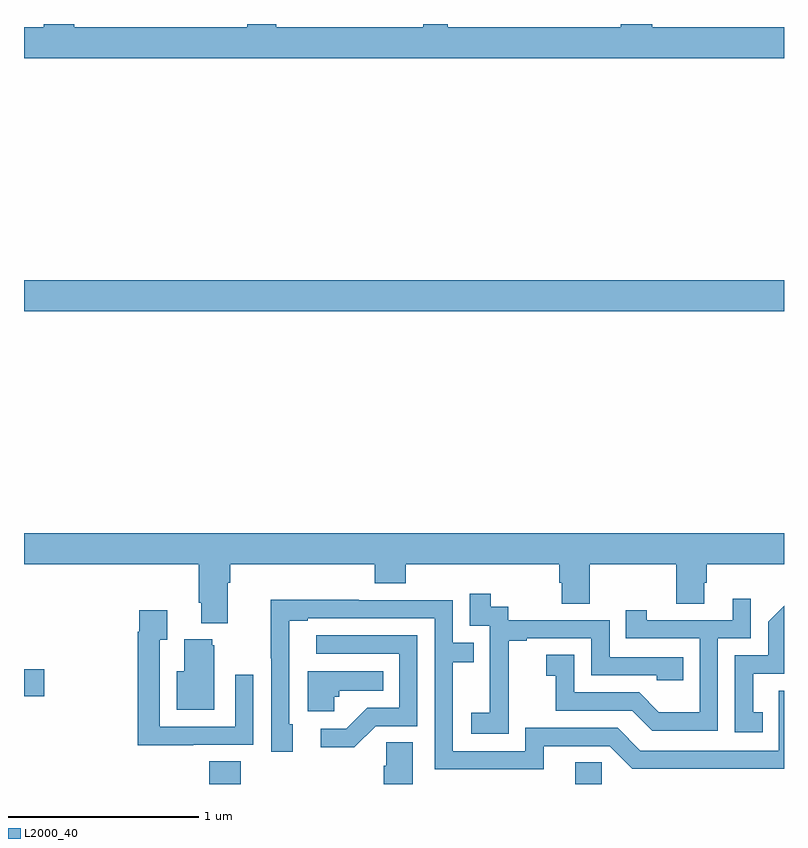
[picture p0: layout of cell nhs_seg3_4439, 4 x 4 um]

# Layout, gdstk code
import gdstk
lib = gdstk.Library(unit=1e-6, precision=1e-09)
def R(c, l, rs):  # rectangles x0, y0, x1, y1
    for r in rs: c.add(gdstk.rectangle(r[:2], r[2:], *l))
def P(c, l, *ps):  # polygons
    for p in ps: c.add(gdstk.Polygon(p, *l))
L2000_40 = (2000, 40)

nhs_seg3_4439 = lib.new_cell('nhs_seg3_4439')
R(nhs_seg3_4439, L2000_40, [(347.975,726.4,348.14,726.521), (349.901,726.4,350.04,726.515), (347,726.862,347.107,727.004), (347,728.888,351,729.052)])
P(nhs_seg3_4439, L2000_40, [(351,730.384),(350.306,730.384),(350.306,730.4),(350.141,730.4),(350.141,730.384),(349.229,730.384),(349.229,730.4),(349.1,730.4),(349.1,730.384),(348.328,730.384),(348.328,730.4),(348.176,730.4),(348.176,730.384),(347.264,730.384),(347.264,730.4),(347.104,730.4),(347.104,730.384),(347,730.384),(347,730.22),(351,730.22)],
  [(348.073,727.46),(348.086,727.46),(348.086,727.556),(348.845,727.556),(348.845,727.457),(349.01,727.457),(349.01,727.556),(349.817,727.556),(349.817,727.458),(349.829,727.458),(349.829,727.348),(349.977,727.348),(349.977,727.556),(350.434,727.556),(350.434,727.348),(350.581,727.348),(350.581,727.458),(350.594,727.458),(350.594,727.556),(351,727.556),(351,727.72),(347,727.72),(347,727.556),(347.921,727.556),(347.921,727.354),(347.933,727.354),(347.933,727.247),(348.073,727.247)],
  [(349.551,726.871),(349.55,726.871),(349.55,727.155),(349.645,727.155),(349.645,727.167),(349.986,727.167),(349.986,726.972),(350.331,726.972),(350.331,726.945),(350.471,726.945),(350.471,727.068),(350.082,727.068),(350.082,727.263),(349.548,727.263),(349.548,727.332),(349.456,727.332),(349.456,727.402),(349.347,727.402),(349.347,727.233),(349.452,727.233),(349.452,727.004),(349.451,727.004),(349.451,726.775),(349.353,726.775),(349.353,726.665),(349.551,726.665)],
  [(350.652,727.167),(350.826,727.167),(350.826,727.375),(350.729,727.375),(350.729,727.263),(350.278,727.263),(350.278,727.315),(350.167,727.315),(350.167,727.167),(350.556,727.167),(350.556,726.778),(350.342,726.778),(350.238,726.882),(349.896,726.882),(349.896,727.081),(349.749,727.081),(349.749,726.971),(349.798,726.971),(349.798,726.786),(350.201,726.786),(350.306,726.681),(350.652,726.681)],
  [(349.735,726.6),(350.082,726.6),(350.202,726.48),(351,726.48),(351,726.891),(350.973,726.891),(350.973,726.576),(350.244,726.576),(350.124,726.696),(349.638,726.696),(349.638,726.573),(349.257,726.573),(349.257,727.042),(349.367,727.042),(349.367,727.143),(349.257,727.143),(349.257,727.368),(348.761,727.368),(348.761,727.37),(348.298,727.37),(348.298,727.063),(348.3,727.063),(348.3,726.57),(348.415,726.57),(348.415,726.714),(348.396,726.714),(348.396,727.26),(348.493,727.26),(348.493,727.272),(349.161,727.272),(349.161,726.477),(349.735,726.477)],
  [(350.888,726.777),(350.839,726.777),(350.839,726.981),(351,726.981),(351,727.338),(350.916,727.254),(350.916,727.077),(350.742,727.077),(350.742,726.672),(350.888,726.672)],
  [(347.891,726.606),(348.207,726.606),(348.207,726.976),(348.111,726.976),(348.111,726.702),(347.715,726.702),(347.715,727.159),(347.755,727.159),(347.755,727.315),(347.607,727.315),(347.607,727.202),(347.599,727.202),(347.599,726.605),(347.891,726.605)],
  [(348.852,726.705),(349.071,726.705),(349.071,727.182),(348.537,727.182),(348.537,727.086),(348.975,727.086),(348.975,726.801),(348.806,726.801),(348.695,726.69),(348.561,726.69),(348.561,726.593),(348.739,726.593)],
  [(348.001,727.131),(347.99,727.131),(347.99,727.162),(347.843,727.162),(347.843,726.994),(347.804,726.994),(347.804,726.791),(348.001,726.791)],
  [(348.633,726.858),(348.66,726.858),(348.66,726.89),(348.89,726.89),(348.89,726.994),(348.494,726.994),(348.494,726.782),(348.633,726.782)],
  [(349.045,726.62),(348.906,726.62),(348.906,726.497),(348.893,726.497),(348.893,726.4),(349.045,726.4)])

lib.write_gds('nhs_seg3_4439.gds')
